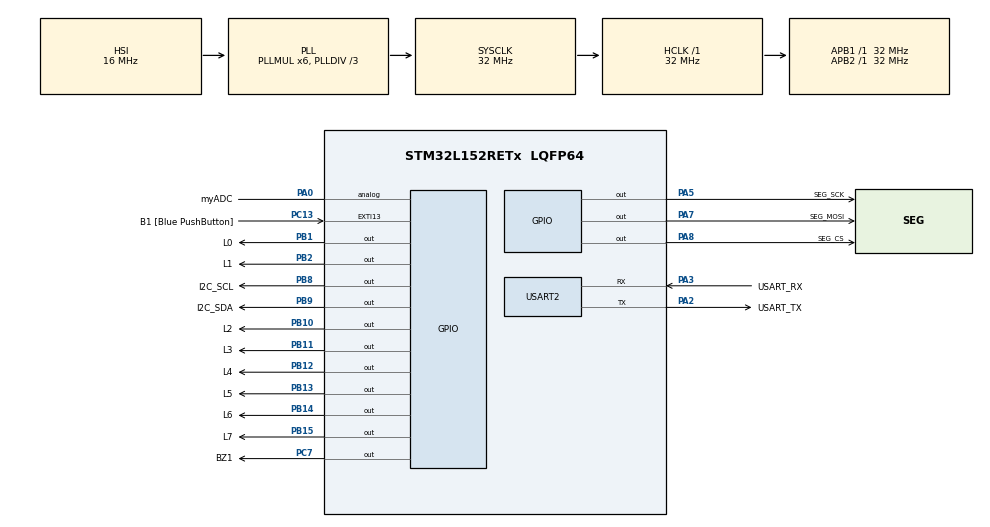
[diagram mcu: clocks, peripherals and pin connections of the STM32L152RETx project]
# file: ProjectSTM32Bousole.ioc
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Mcu.Family=STM32L1
Mcu.Name=STM32L152RETx
Mcu.Package=LQFP64
NVIC.PriorityGroup=NVIC_PRIORITYGROUP_0
PA13.GPIO_Label=TMS
PA13.Mode=Serial_Wire
PA13.Signal=SYS_JTMS-SWDIO
PA14.GPIO_Label=TCK
PA14.Mode=Serial_Wire
PA14.Signal=SYS_JTCK-SWCLK
PA0-WKUP1.GPIO_Label=myADC
PA0-WKUP1.Signal=GPIO_Analog
PA2.GPIO_Label=USART_TX
PA2.Mode=Asynchronous
PA2.Signal=USART2_TX
PA3.GPIO_Label=USART_RX
PA3.Mode=Asynchronous
PA3.Signal=USART2_RX
PA5.GPIO_Label=SEG_SCK
PA5.GPIO_Speed=GPIO_SPEED_FREQ_HIGH
PA5.Signal=GPIO_Output
PA7.GPIO_Label=SEG_MOSI
PA7.GPIO_Speed=GPIO_SPEED_FREQ_HIGH
PA7.Signal=GPIO_Output
PA8.GPIO_Label=SEG_CS
PA8.GPIO_Speed=GPIO_SPEED_FREQ_HIGH
PA8.Signal=GPIO_Output
PB1.GPIO_Label=L0
PB1.GPIO_Speed=GPIO_SPEED_FREQ_LOW
PB1.Signal=GPIO_Output
PB10.GPIO_Label=L2
PB10.GPIO_Speed=GPIO_SPEED_FREQ_LOW
PB10.Signal=GPIO_Output
PB11.GPIO_Label=L3
PB11.GPIO_Speed=GPIO_SPEED_FREQ_LOW
PB11.Signal=GPIO_Output
PB12.GPIO_Label=L4
PB12.GPIO_Speed=GPIO_SPEED_FREQ_LOW
PB12.Signal=GPIO_Output
PB13.GPIO_Label=L5
PB13.GPIO_Speed=GPIO_SPEED_FREQ_LOW
PB13.Signal=GPIO_Output
PB14.GPIO_Label=L6
PB14.GPIO_Speed=GPIO_SPEED_FREQ_LOW
PB14.Signal=GPIO_Output
PB15.GPIO_Label=L7
PB15.GPIO_Speed=GPIO_SPEED_FREQ_LOW
PB15.Signal=GPIO_Output
PB2.GPIO_Label=L1
PB2.GPIO_Speed=GPIO_SPEED_FREQ_LOW
PB2.Signal=GPIO_Output
PB3.GPIO_Label=SWO
PB3.Signal=SYS_JTDO-TRACESWO
PB8.GPIO_Label=I2C_SCL
PB8.GPIO_ModeDefaultOutputPP=GPIO_MODE_OUTPUT_OD
PB8.GPIO_PuPd=GPIO_PULLUP
PB8.GPIO_Speed=GPIO_SPEED_FREQ_HIGH
PB8.Signal=GPIO_Output
PB9.GPIO_Label=I2C_SDA
PB9.GPIO_ModeDefaultOutputPP=GPIO_MODE_OUTPUT_OD
PB9.GPIO_PuPd=GPIO_PULLUP
PB9.GPIO_Speed=GPIO_SPEED_FREQ_HIGH
PB9.Signal=GPIO_Output
PC7.GPIO_Label=BZ1
PC7.GPIO_Speed=GPIO_SPEED_FREQ_HIGH
PC7.Signal=GPIO_Output
PC13-WKUP2.GPIO_Label=B1 [Blue PushButton]
PC13-WKUP2.Signal=GPXTI13
PC14-OSC32_IN.Mode=LSE-External-Oscillator
PC14-OSC32_IN.Signal=RCC_OSC32_IN
PC15-OSC32_OUT.Mode=LSE-External-Oscillator
PC15-OSC32_OUT.Signal=RCC_OSC32_OUT
PH0-OSC_IN.Mode=HSE-External-Clock-Source
PH0-OSC_IN.Signal=RCC_OSC_IN
PH1-OSC_OUT.Signal=RCC_OSC_OUT
ProjectManager.HeapSize=0x200
ProjectManager.StackSize=0x400
ProjectManager.TargetToolchain=STM32CubeIDE
RCC.48MHZClocksFreq_Value=48000000
RCC.AHBFreq_Value=32000000
RCC.APB1Freq_Value=32000000
RCC.APB1TimFreq_Value=32000000
RCC.APB2Freq_Value=32000000
RCC.APB2TimFreq_Value=32000000
RCC.HCLKFreq_Value=32000000
RCC.HSE_VALUE=8000000
RCC.HSI_VALUE=16000000
RCC.MSI_VALUE=2097000
RCC.PLLDIV=RCC_PLL_DIV3
RCC.PLLMUL=RCC_PLL_MUL6
RCC.RTCClockSelectionVirtual=RCC_RTCCLKSOURCE_LSE
RCC.SYSCLKFreq_VALUE=32000000
RCC.SYSCLKSource=RCC_SYSCLKSOURCE_PLLCLK
RCC.USBOutput=48000000
RCC.VCOOutputFreq_Value=96000000
USART2.VirtualMode=VM_ASYNC
board=NUCLEO-L152RE

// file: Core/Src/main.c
/* USER CODE BEGIN Header */
/**
  ******************************************************************************
  * @file           : main.c
  * @brief          : Main program body
  ******************************************************************************
  * @attention
  *
  * Copyright (c) 2026 STMicroelectronics.
  * All rights reserved.
  *
  * This software is licensed under terms that can be found in the LICENSE file
  * in the root directory of this software component.
  * If no LICENSE file comes with this software, it is provided AS-IS.
  *
  ******************************************************************************
  */
/* USER CODE END Header */
#include "main.h"

/* USER CODE BEGIN Includes */
#include <stdbool.h>
#include <stdint.h>
#include <stdio.h>

/* USER CODE END Includes */

/* USER CODE BEGIN PD */
#define LIS2MDL_ADDR              0x1EU
#define LIS2MDL_WHO_AM_I          0x4FU
#define LIS2MDL_WHO_AM_I_VALUE    0x40U
#define LIS2MDL_CFG_REG_A         0x60U
#define LIS2MDL_CFG_REG_B         0x61U
#define LIS2MDL_CFG_REG_C         0x62U
#define LIS2MDL_OUTX_L_REG        0x68U

#define LIS2DW12_ADDR             0x19U
#define LIS2DW12_WHO_AM_I         0x0FU
#define LIS2DW12_WHO_AM_I_VALUE   0x44U
#define LIS2DW12_CTRL1            0x20U
#define LIS2DW12_CTRL6            0x25U
#define LIS2DW12_OUT_X_L          0x28U
#define ACCEL_TILT_LIMIT_RAW      1400

#define MAX7219_REG_DIGIT0        0x01U
#define MAX7219_REG_DECODE        0x09U
#define MAX7219_REG_INTENSITY     0x0AU
#define MAX7219_REG_SCAN_LIMIT    0x0BU
#define MAX7219_REG_SHUTDOWN      0x0CU
#define MAX7219_REG_DISPLAY_TEST  0x0FU

#define COMPASS_UPDATE_MS         150U
#define COMPASS_MAX_READ_ERRORS   3U
#define BUZZER_NEAR_NORTH_DEG     20U
#define BUZZER_ON_NORTH_DEG       5U
#define ADC_UPDATE_REQUESTS       1U
#define ADC_TIMEOUT_LOOPS         100000U

/* USER CODE END PD */

UART_HandleTypeDef huart2;

/* USER CODE BEGIN PV */
static uint8_t sensor_ok = 0U;
static uint8_t accel_ok = 0U;
static volatile uint8_t timer6_adc_request = 0U;
static volatile uint32_t timer6_ticks = 0U;
static volatile uint8_t button_event = 0U;
static uint16_t adc_value = 0U;
static uint32_t adc_display_until = 0U;

/* USER CODE END PV */

void SystemClock_Config(void);
static void MX_GPIO_Init(void);
static void MX_USART2_UART_Init(void);
/* USER CODE BEGIN PFP */
static void Compass_AppInit(void);
static void Compass_AppTask(void);
static void ADC1_AppInit(void);
static bool ADC1_ReadChannel0(uint16_t *value);
static void TIM6_AppInit(void);
static void Compass_HandleButtonEvent(void);
static void Compass_DisplayError(void);
static bool Compass_ReadHeading(uint16_t *heading_deg);
static uint16_t Compass_HeadingFromMag(int16_t x, int16_t y);
static uint16_t Compass_CorrectHeading(uint16_t heading_deg);
static uint16_t Compass_UserHeading(uint16_t heading_deg);
static char Compass_Cardinal(uint16_t heading_deg);
static void Compass_DisplayHeading(uint16_t heading_deg);
static void Compass_DisplayAdc(uint16_t value);
static void Compass_UpdateLeds(uint16_t heading_deg);
static bool Compass_IsTilted(void);
static void Compass_DisplayTilt(void);
static uint16_t Compass_NorthError(uint16_t heading_deg);
static void Buzzer_UpdateNorth(uint16_t heading_deg);
static void Buzzer_PlayTone(uint16_t duration_ms);
static void Buzzer_DelayHalfPeriod(void);
static void LED_Write(uint8_t value);
static bool LIS2MDL_Init(void);
static bool LIS2MDL_ReadRaw(int16_t *x, int16_t *y, int16_t *z);
static bool LIS2MDL_ReadReg(uint8_t reg, uint8_t *value);
static bool LIS2MDL_WriteReg(uint8_t reg, uint8_t value);
static bool LIS2DW12_Init(void);
static bool LIS2DW12_ReadRaw(int16_t *x, int16_t *y, int16_t *z);
static bool LIS2DW12_ReadReg(uint8_t reg, uint8_t *value);
static bool LIS2DW12_WriteReg(uint8_t reg, uint8_t value);
static bool I2C_WriteBytes(uint8_t addr, const uint8_t *data, uint8_t len);
static bool I2C_ReadRegBytes(uint8_t addr, uint8_t reg, uint8_t *data, uint8_t len);
static void I2C_Start(void);
static void I2C_Stop(void);
static bool I2C_WriteByte(uint8_t data);
static uint8_t I2C_ReadByte(bool ack);
static void I2C_SdaOutput(void);
static void I2C_SdaInput(void);
static void I2C_Delay(void);
static void MAX7219_Init(void);
static void MAX7219_Write(uint8_t reg, uint8_t data);
static void MAX7219_SendByte(uint8_t data);
static void MAX7219_DisplayChars(const char chars[4]);
static uint8_t SevenSeg_Code(char c);
static uint16_t Abs16(int16_t value);
int __io_putchar(int ch);

/* USER CODE END PFP */

int main(void)
{

  /* MCU Configuration--------------------------------------------------------*/

  /* Reset of all peripherals, Initializes the Flash interface and the Systick. */
  HAL_Init();

  /* Configure the system clock */
  SystemClock_Config();

  /* Initialize all configured peripherals */
  MX_GPIO_Init();
  MX_USART2_UART_Init();
  /* USER CODE BEGIN 2 */
  ADC1_AppInit();
  TIM6_AppInit();
  Compass_AppInit();

  /* USER CODE END 2 */

  /* Infinite loop */
  while (1)
  {

    /* USER CODE BEGIN 3 */
    Compass_AppTask();
  }
  /* USER CODE END 3 */
}

void SystemClock_Config(void)
{
  RCC_OscInitTypeDef RCC_OscInitStruct = {0};
  RCC_ClkInitTypeDef RCC_ClkInitStruct = {0};

  /** Configure the main internal regulator output voltage
  */
  __HAL_PWR_VOLTAGESCALING_CONFIG(PWR_REGULATOR_VOLTAGE_SCALE1);

  /** Initializes the RCC Oscillators according to the specified parameters
  * in the RCC_OscInitTypeDef structure.
  */
  RCC_OscInitStruct.OscillatorType = RCC_OSCILLATORTYPE_HSI;
  RCC_OscInitStruct.HSIState = RCC_HSI_ON;
  RCC_OscInitStruct.HSICalibrationValue = RCC_HSICALIBRATION_DEFAULT;
  RCC_OscInitStruct.PLL.PLLState = RCC_PLL_ON;
  RCC_OscInitStruct.PLL.PLLSource = RCC_PLLSOURCE_HSI;
  RCC_OscInitStruct.PLL.PLLMUL = RCC_PLL_MUL6;
  RCC_OscInitStruct.PLL.PLLDIV = RCC_PLL_DIV3;
  if (HAL_RCC_OscConfig(&RCC_OscInitStruct) != HAL_OK)
  {
    Error_Handler();
  }

  /** Initializes the CPU, AHB and APB buses clocks
  */
  RCC_ClkInitStruct.ClockType = RCC_CLOCKTYPE_HCLK|RCC_CLOCKTYPE_SYSCLK
                              |RCC_CLOCKTYPE_PCLK1|RCC_CLOCKTYPE_PCLK2;
  RCC_ClkInitStruct.SYSCLKSource = RCC_SYSCLKSOURCE_PLLCLK;
  RCC_ClkInitStruct.AHBCLKDivider = RCC_SYSCLK_DIV1;
  RCC_ClkInitStruct.APB1CLKDivider = RCC_HCLK_DIV1;
  RCC_ClkInitStruct.APB2CLKDivider = RCC_HCLK_DIV1;

  if (HAL_RCC_ClockConfig(&RCC_ClkInitStruct, FLASH_LATENCY_1) != HAL_OK)
  {
    Error_Handler();
  }
}

static void MX_USART2_UART_Init(void)
{

  huart2.Instance = USART2;
  huart2.Init.BaudRate = 115200;
  huart2.Init.WordLength = UART_WORDLENGTH_8B;
  huart2.Init.StopBits = UART_STOPBITS_1;
  huart2.Init.Parity = UART_PARITY_NONE;
  huart2.Init.Mode = UART_MODE_TX_RX;
  huart2.Init.HwFlowCtl = UART_HWCONTROL_NONE;
  huart2.Init.OverSampling = UART_OVERSAMPLING_16;
  if (HAL_UART_Init(&huart2) != HAL_OK)
  {
    Error_Handler();
  }

}

static void MX_GPIO_Init(void)
{
  GPIO_InitTypeDef GPIO_InitStruct = {0};

  /* GPIO Ports Clock Enable */
  __HAL_RCC_GPIOC_CLK_ENABLE();
  __HAL_RCC_GPIOH_CLK_ENABLE();
  __HAL_RCC_GPIOA_CLK_ENABLE();
  __HAL_RCC_GPIOB_CLK_ENABLE();

  /*Configure GPIO pin Output Level */
  HAL_GPIO_WritePin(GPIOA, SEG_SCK_Pin|SEG_MOSI_Pin, GPIO_PIN_RESET);

  /*Configure GPIO pin Output Level */
  HAL_GPIO_WritePin(SEG_CS_GPIO_Port, SEG_CS_Pin, GPIO_PIN_SET);

  /*Configure GPIO pin Output Level */
  HAL_GPIO_WritePin(BZ1_GPIO_Port, BZ1_Pin, GPIO_PIN_RESET);

  /*Configure GPIO pin Output Level */
  HAL_GPIO_WritePin(GPIOB, I2C_SCL_Pin|I2C_SDA_Pin, GPIO_PIN_SET);

  /*Configure GPIO pin Output Level */
  HAL_GPIO_WritePin(LEDS_GPIO_Port, L0_Pin|L1_Pin|L2_Pin|L3_Pin|L4_Pin
                          |L5_Pin|L6_Pin|L7_Pin, GPIO_PIN_RESET);

  /*Configure GPIO pin : B1_Pin */
  GPIO_InitStruct.Pin = B1_Pin;
  GPIO_InitStruct.Mode = GPIO_MODE_IT_RISING;
  GPIO_InitStruct.Pull = GPIO_NOPULL;
  HAL_GPIO_Init(B1_GPIO_Port, &GPIO_InitStruct);
  HAL_NVIC_SetPriority(EXTI15_10_IRQn, 1U, 0U);
  HAL_NVIC_EnableIRQ(EXTI15_10_IRQn);

  /*Configure GPIO pin : myADC_Pin */
  GPIO_InitStruct.Pin = myADC_Pin;
  GPIO_InitStruct.Mode = GPIO_MODE_ANALOG;
  GPIO_InitStruct.Pull = GPIO_NOPULL;
  HAL_GPIO_Init(myADC_GPIO_Port, &GPIO_InitStruct);

  /*Configure GPIO pin : BZ1_Pin */
  GPIO_InitStruct.Pin = BZ1_Pin;
  GPIO_InitStruct.Mode = GPIO_MODE_OUTPUT_PP;
  GPIO_InitStruct.Pull = GPIO_NOPULL;
  GPIO_InitStruct.Speed = GPIO_SPEED_FREQ_HIGH;
  HAL_GPIO_Init(BZ1_GPIO_Port, &GPIO_InitStruct);

  /*Configure GPIO pins : SEG_SCK_Pin SEG_MOSI_Pin SEG_CS_Pin */
  GPIO_InitStruct.Pin = SEG_SCK_Pin|SEG_MOSI_Pin|SEG_CS_Pin;
  GPIO_InitStruct.Mode = GPIO_MODE_OUTPUT_PP;
  GPIO_InitStruct.Pull = GPIO_NOPULL;
  GPIO_InitStruct.Speed = GPIO_SPEED_FREQ_HIGH;
  HAL_GPIO_Init(GPIOA, &GPIO_InitStruct);

  /*Configure GPIO pins : I2C_SCL_Pin I2C_SDA_Pin */
  GPIO_InitStruct.Pin = I2C_SCL_Pin|I2C_SDA_Pin;
  GPIO_InitStruct.Mode = GPIO_MODE_OUTPUT_OD;
  GPIO_InitStruct.Pull = GPIO_PULLUP;
  GPIO_InitStruct.Speed = GPIO_SPEED_FREQ_HIGH;
  HAL_GPIO_Init(GPIOB, &GPIO_InitStruct);

  /*Configure GPIO pins : L0_Pin L1_Pin L2_Pin L3_Pin L4_Pin
                           L5_Pin L6_Pin L7_Pin */
  GPIO_InitStruct.Pin = L0_Pin|L1_Pin|L2_Pin|L3_Pin|L4_Pin|L5_Pin|L6_Pin|L7_Pin;
  GPIO_InitStruct.Mode = GPIO_MODE_OUTPUT_PP;
  GPIO_InitStruct.Pull = GPIO_NOPULL;
  GPIO_InitStruct.Speed = GPIO_SPEED_FREQ_LOW;
  HAL_GPIO_Init(LEDS_GPIO_Port, &GPIO_InitStruct);

}

/* USER CODE BEGIN 4 */
static void ADC1_AppInit(void)
{
  RCC->APB2ENR |= RCC_APB2ENR_ADC1EN;
  ADC->CCR &= ~ADC_CCR_ADCPRE;
  ADC->CCR |= ADC_CCR_ADCPRE_0;

  ADC1->CR1 = 0U;
  ADC1->CR2 = 0U;
  ADC1->SMPR3 = ADC_SMPR3_SMP0;
  ADC1->SQR1 = 0U;
  ADC1->SQR5 = 0U;
  ADC1->CR2 = ADC_CR2_ADON;
}

static bool ADC1_ReadChannel0(uint16_t *value)
{
  uint32_t timeout = ADC_TIMEOUT_LOOPS;

  if (value == NULL) {
    return false;
  }

  ADC1->SR = 0U;
  ADC1->CR2 |= ADC_CR2_SWSTART;
  while ((ADC1->SR & ADC_SR_EOC) == 0U) {
    if (timeout == 0U) {
      return false;
    }
    timeout--;
  }

  *value = (uint16_t)(ADC1->DR & 0x0FFFU);
  return true;
}

static void TIM6_AppInit(void)
{
  RCC->APB1ENR |= RCC_APB1ENR_TIM6EN;
  TIM6->CR1 = 0U;
  TIM6->PSC = 32000U - 1U;
  TIM6->ARR = 1000U - 1U;
  TIM6->EGR = TIM_EGR_UG;
  TIM6->SR = 0U;
  TIM6->DIER = TIM_DIER_UIE;
  HAL_NVIC_SetPriority(TIM6_IRQn, 2U, 0U);
  HAL_NVIC_EnableIRQ(TIM6_IRQn);
  TIM6->CR1 = TIM_CR1_CEN;
}

static void Compass_HandleButtonEvent(void)
{
  if (button_event == 0U) {
    return;
  }

  button_event = 0U;
  adc_display_until = HAL_GetTick() + 1200U;
  Compass_DisplayAdc(adc_value);
}

static void Compass_AppInit(void)
{
  MAX7219_Init();
  MAX7219_DisplayChars("INIT");
  sensor_ok = LIS2MDL_Init() ? 1U : 0U;
  accel_ok = LIS2DW12_Init() ? 1U : 0U;

  if (sensor_ok == 0U) {
    Compass_DisplayError();
  }

  printf("Boussole: MAX7219 OK, LIS2MDL %s, LIS2DW12 accel %s\r\n",
         sensor_ok ? "OK" : "absent",
         accel_ok ? "OK" : "absent");
}

static void Compass_AppTask(void)
{
  static uint32_t last_update = 0U;
  static uint8_t read_errors = 0U;
  uint16_t heading = 0U;
  uint16_t user_heading = 0U;
  uint16_t latest_adc = 0U;

  Compass_HandleButtonEvent();

  if (timer6_adc_request >= ADC_UPDATE_REQUESTS) {
    timer6_adc_request = 0U;
    if (ADC1_ReadChannel0(&latest_adc)) {
      adc_value = latest_adc;
    }
  }

  if ((HAL_GetTick() - last_update) < COMPASS_UPDATE_MS) {
    return;
  }
  last_update = HAL_GetTick();

  if ((int32_t)(adc_display_until - HAL_GetTick()) > 0) {
    return;
  }

  if (!Compass_ReadHeading(&heading)) {
    sensor_ok = 0U;
    if (read_errors < COMPASS_MAX_READ_ERRORS) {
      read_errors++;
    }
    if (read_errors >= COMPASS_MAX_READ_ERRORS) {
      Compass_DisplayError();
      LED_Write(0x00U);
    }
    HAL_GPIO_WritePin(BZ1_GPIO_Port, BZ1_Pin, GPIO_PIN_RESET);
    return;
  }

  sensor_ok = 1U;
  read_errors = 0U;
  if (Compass_IsTilted()) {
    Compass_DisplayTilt();
    printf("Inclinaison trop forte: mesure du cap ignoree\r\n");
    return;
  }

  user_heading = Compass_UserHeading(heading);
  Compass_DisplayHeading(user_heading);
  Compass_UpdateLeds(user_heading);
  Buzzer_UpdateNorth(user_heading);
  printf("Cap affiche: %03u deg [%c], ecart nord affiche %03u deg\r\n",
         user_heading,
         Compass_Cardinal(user_heading),
         Compass_NorthError(user_heading));
}

static void Compass_DisplayError(void)
{
  MAX7219_DisplayChars("ERR ");
}

static bool Compass_ReadHeading(uint16_t *heading_deg)
{
  int16_t x = 0;
  int16_t y = 0;
  int16_t z = 0;

  if (heading_deg == NULL) {
    return false;
  }

  if (!LIS2MDL_ReadRaw(&x, &y, &z)) {
    (void)z;
    return false;
  }

  *heading_deg = Compass_CorrectHeading(Compass_HeadingFromMag(x, y));
  return true;
}

static uint16_t Compass_HeadingFromMag(int16_t x, int16_t y)
{
  int32_t ax = Abs16(x);
  int32_t ay = Abs16(y);
  int32_t angle;

  if (x == 0 && y == 0) {
    return 0U;
  }

  if (ax >= ay) {
    angle = (45L * ay) / (ax == 0 ? 1 : ax);
  } else {
    angle = 90L - ((45L * ax) / (ay == 0 ? 1 : ay));
  }

  if (x >= 0 && y >= 0) {
    return (uint16_t)angle;
  }
  if (x < 0 && y >= 0) {
    return (uint16_t)(180L - angle);
  }
  if (x < 0 && y < 0) {
    return (uint16_t)(180L + angle);
  }
  return (uint16_t)(360L - angle);
}

static uint16_t Compass_CorrectHeading(uint16_t heading_deg)
{
  heading_deg %= 360U;
  if (heading_deg == 0U) {
    return 0U;
  }
  return (uint16_t)(360U - heading_deg);
}

static uint16_t Compass_UserHeading(uint16_t heading_deg)
{
  return (uint16_t)((heading_deg + 180U) % 360U);
}

static char Compass_Cardinal(uint16_t heading_deg)
{
  static const char dirs[8] = {'N', 'E', 'E', 'S', 'S', 'W', 'W', 'N'};
  uint8_t sector = (uint8_t)(((uint32_t)heading_deg + 22U) / 45U) & 0x07U;
  return dirs[sector];
}

static void Compass_DisplayHeading(uint16_t heading_deg)
{
  char text[4];

  heading_deg %= 360U;
  text[0] = Compass_Cardinal(heading_deg);
  text[1] = (char)('0' + (heading_deg / 100U));
  text[2] = (char)('0' + ((heading_deg / 10U) % 10U));
  text[3] = (char)('0' + (heading_deg % 10U));
  MAX7219_DisplayChars(text);
}

static void Compass_DisplayAdc(uint16_t value)
{
  char text[4];
  uint16_t display_value;

  display_value = (uint16_t)(((uint32_t)(value & 0x0FFFU) * 999U) / 4095U);
  text[0] = 'A';
  text[1] = (char)('0' + (display_value / 100U));
  text[2] = (char)('0' + ((display_value / 10U) % 10U));
  text[3] = (char)('0' + (display_value % 10U));
  MAX7219_DisplayChars(text);
}

static void Compass_UpdateLeds(uint16_t heading_deg)
{
  uint8_t sector = (uint8_t)(((uint32_t)heading_deg + 22U) / 45U) & 0x07U;
  LED_Write((uint8_t)(1U << sector));
}

static bool Compass_IsTilted(void)
{
  int16_t ax = 0;
  int16_t ay = 0;
  int16_t az = 0;

  if (accel_ok == 0U) {
    return false;
  }

  if (!LIS2DW12_ReadRaw(&ax, &ay, &az)) {
    accel_ok = 0U;
    return false;
  }

  (void)az;
  return Abs16(ax) > ACCEL_TILT_LIMIT_RAW || Abs16(ay) > ACCEL_TILT_LIMIT_RAW;
}

static void Compass_DisplayTilt(void)
{
  MAX7219_DisplayChars("TILT");
  LED_Write(0x81U);
  HAL_GPIO_WritePin(BZ1_GPIO_Port, BZ1_Pin, GPIO_PIN_RESET);
}

static uint16_t Compass_NorthError(uint16_t heading_deg)
{
  heading_deg %= 360U;
  return heading_deg <= 180U ? heading_deg : (uint16_t)(360U - heading_deg);
}

static void Buzzer_UpdateNorth(uint16_t heading_deg)
{
  static uint32_t last_beep = 0U;
  uint32_t now = HAL_GetTick();
  uint16_t error = Compass_NorthError(heading_deg);
  uint32_t interval_ms;

  if (error > BUZZER_NEAR_NORTH_DEG) {
    HAL_GPIO_WritePin(BZ1_GPIO_Port, BZ1_Pin, GPIO_PIN_RESET);
    return;
  }

  interval_ms = error <= BUZZER_ON_NORTH_DEG ? 180U : 650U;
  if ((now - last_beep) < interval_ms) {
    return;
  }

  last_beep = now;
  Buzzer_PlayTone(error <= BUZZER_ON_NORTH_DEG ? 80U : 35U);
}

static void Buzzer_PlayTone(uint16_t duration_ms)
{
  uint32_t start = HAL_GetTick();

  while ((HAL_GetTick() - start) < duration_ms) {
    HAL_GPIO_WritePin(BZ1_GPIO_Port, BZ1_Pin, GPIO_PIN_SET);
    Buzzer_DelayHalfPeriod();
    HAL_GPIO_WritePin(BZ1_GPIO_Port, BZ1_Pin, GPIO_PIN_RESET);
    Buzzer_DelayHalfPeriod();
  }
}

static void Buzzer_DelayHalfPeriod(void)
{
  volatile uint16_t i;

  for (i = 0U; i < 650U; i++) {
    __NOP();
  }
}

static void LED_Write(uint8_t value)
{
  HAL_GPIO_WritePin(LEDS_GPIO_Port, L0_Pin,  (value & 0x01U) ? GPIO_PIN_SET : GPIO_PIN_RESET);
  HAL_GPIO_WritePin(LEDS_GPIO_Port, L1_Pin,  (value & 0x02U) ? GPIO_PIN_SET : GPIO_PIN_RESET);
  HAL_GPIO_WritePin(LEDS_GPIO_Port, L2_Pin,  (value & 0x04U) ? GPIO_PIN_SET : GPIO_PIN_RESET);
  HAL_GPIO_WritePin(LEDS_GPIO_Port, L3_Pin,  (value & 0x08U) ? GPIO_PIN_SET : GPIO_PIN_RESET);
  HAL_GPIO_WritePin(LEDS_GPIO_Port, L4_Pin,  (value & 0x10U) ? GPIO_PIN_SET : GPIO_PIN_RESET);
  HAL_GPIO_WritePin(LEDS_GPIO_Port, L5_Pin,  (value & 0x20U) ? GPIO_PIN_SET : GPIO_PIN_RESET);
  HAL_GPIO_WritePin(LEDS_GPIO_Port, L6_Pin,  (value & 0x40U) ? GPIO_PIN_SET : GPIO_PIN_RESET);
  HAL_GPIO_WritePin(LEDS_GPIO_Port, L7_Pin,  (value & 0x80U) ? GPIO_PIN_SET : GPIO_PIN_RESET);
}

static bool LIS2MDL_Init(void)
{
  uint8_t whoami = 0U;

  if (!LIS2MDL_ReadReg(LIS2MDL_WHO_AM_I, &whoami) || whoami != LIS2MDL_WHO_AM_I_VALUE) {
    return false;
  }

  if (!LIS2MDL_WriteReg(LIS2MDL_CFG_REG_A, 0x8CU)) {
    return false;
  }
  if (!LIS2MDL_WriteReg(LIS2MDL_CFG_REG_B, 0x02U)) {
    return false;
  }
  return LIS2MDL_WriteReg(LIS2MDL_CFG_REG_C, 0x10U);
}

static bool LIS2MDL_ReadRaw(int16_t *x, int16_t *y, int16_t *z)
{
  uint8_t data[6] = {0};

  if (x == NULL || y == NULL || z == NULL) {
    return false;
  }

  if (!I2C_ReadRegBytes(LIS2MDL_ADDR, (uint8_t)(LIS2MDL_OUTX_L_REG | 0x80U), data, sizeof(data))) {
    return false;
  }

  *x = (int16_t)((uint16_t)data[0] | ((uint16_t)data[1] << 8));
  *y = (int16_t)((uint16_t)data[2] | ((uint16_t)data[3] << 8));
  *z = (int16_t)((uint16_t)data[4] | ((uint16_t)data[5] << 8));
  return true;
}

static bool LIS2MDL_ReadReg(uint8_t reg, uint8_t *value)
{
  return I2C_ReadRegBytes(LIS2MDL_ADDR, reg, value, 1U);
}

static bool LIS2MDL_WriteReg(uint8_t reg, uint8_t value)
{
  uint8_t data[2] = {reg, value};
  return I2C_WriteBytes(LIS2MDL_ADDR, data, sizeof(data));
}

static bool LIS2DW12_Init(void)
{
  uint8_t whoami = 0U;

  if (!LIS2DW12_ReadReg(LIS2DW12_WHO_AM_I, &whoami) || whoami != LIS2DW12_WHO_AM_I_VALUE) {
    return false;
  }

  if (!LIS2DW12_WriteReg(LIS2DW12_CTRL6, 0x00U)) {
    return false;
  }
  return LIS2DW12_WriteReg(LIS2DW12_CTRL1, 0x50U);
}

static bool LIS2DW12_ReadRaw(int16_t *x, int16_t *y, int16_t *z)
{
  uint8_t data[6] = {0};

  if (x == NULL || y == NULL || z == NULL) {
    return false;
  }

  if (!I2C_ReadRegBytes(LIS2DW12_ADDR, (uint8_t)(LIS2DW12_OUT_X_L | 0x80U), data, sizeof(data))) {
    return false;
  }

  *x = (int16_t)((uint16_t)data[0] | ((uint16_t)data[1] << 8));
  *y = (int16_t)((uint16_t)data[2] | ((uint16_t)data[3] << 8));
  *z = (int16_t)((uint16_t)data[4] | ((uint16_t)data[5] << 8));

  *x >>= 2;
  *y >>= 2;
  *z >>= 2;
  return true;
}

static bool LIS2DW12_ReadReg(uint8_t reg, uint8_t *value)
{
  return I2C_ReadRegBytes(LIS2DW12_ADDR, reg, value, 1U);
}

static bool LIS2DW12_WriteReg(uint8_t reg, uint8_t value)
{
  uint8_t data[2] = {reg, value};
  return I2C_WriteBytes(LIS2DW12_ADDR, data, sizeof(data));
}

static bool I2C_WriteBytes(uint8_t addr, const uint8_t *data, uint8_t len)
{
  uint8_t i;

  I2C_Start();
  if (!I2C_WriteByte((uint8_t)(addr << 1))) {
    I2C_Stop();
    return false;
  }
  for (i = 0; i < len; i++) {
    if (!I2C_WriteByte(data[i])) {
      I2C_Stop();
      return false;
    }
  }
  I2C_Stop();
  return true;
}

static bool I2C_ReadRegBytes(uint8_t addr, uint8_t reg, uint8_t *data, uint8_t len)
{
  uint8_t i;

  if (data == NULL || len == 0U) {
    return false;
  }

  I2C_Start();
  if (!I2C_WriteByte((uint8_t)(addr << 1)) || !I2C_WriteByte(reg)) {
    I2C_Stop();
    return false;
  }

  I2C_Start();
  if (!I2C_WriteByte((uint8_t)((addr << 1) | 1U))) {
    I2C_Stop();
    return false;
  }

  for (i = 0; i < len; i++) {
    data[i] = I2C_ReadByte(i < (uint8_t)(len - 1U));
  }
  I2C_Stop();
  return true;
}

static void I2C_Start(void)
{
  I2C_SdaOutput();
  HAL_GPIO_WritePin(I2C_SDA_GPIO_Port, I2C_SDA_Pin, GPIO_PIN_SET);
  HAL_GPIO_WritePin(I2C_SCL_GPIO_Port, I2C_SCL_Pin, GPIO_PIN_SET);
  I2C_Delay();
  HAL_GPIO_WritePin(I2C_SDA_GPIO_Port, I2C_SDA_Pin, GPIO_PIN_RESET);
  I2C_Delay();
  HAL_GPIO_WritePin(I2C_SCL_GPIO_Port, I2C_SCL_Pin, GPIO_PIN_RESET);
}

static void I2C_Stop(void)
{
  I2C_SdaOutput();
  HAL_GPIO_WritePin(I2C_SDA_GPIO_Port, I2C_SDA_Pin, GPIO_PIN_RESET);
  HAL_GPIO_WritePin(I2C_SCL_GPIO_Port, I2C_SCL_Pin, GPIO_PIN_SET);
  I2C_Delay();
  HAL_GPIO_WritePin(I2C_SDA_GPIO_Port, I2C_SDA_Pin, GPIO_PIN_SET);
  I2C_Delay();
}

static bool I2C_WriteByte(uint8_t data)
{
  uint8_t i;
  GPIO_PinState ack;

  I2C_SdaOutput();
  for (i = 0; i < 8U; i++) {
    HAL_GPIO_WritePin(I2C_SDA_GPIO_Port, I2C_SDA_Pin,
                      (data & 0x80U) ? GPIO_PIN_SET : GPIO_PIN_RESET);
    I2C_Delay();
    HAL_GPIO_WritePin(I2C_SCL_GPIO_Port, I2C_SCL_Pin, GPIO_PIN_SET);
    I2C_Delay();
    HAL_GPIO_WritePin(I2C_SCL_GPIO_Port, I2C_SCL_Pin, GPIO_PIN_RESET);
    data <<= 1;
  }

  I2C_SdaInput();
  I2C_Delay();
  HAL_GPIO_WritePin(I2C_SCL_GPIO_Port, I2C_SCL_Pin, GPIO_PIN_SET);
  I2C_Delay();
  ack = HAL_GPIO_ReadPin(I2C_SDA_GPIO_Port, I2C_SDA_Pin);
  HAL_GPIO_WritePin(I2C_SCL_GPIO_Port, I2C_SCL_Pin, GPIO_PIN_RESET);
  I2C_SdaOutput();
  return ack == GPIO_PIN_RESET;
}

static uint8_t I2C_ReadByte(bool ack)
{
  uint8_t i;
  uint8_t data = 0U;

  I2C_SdaInput();
  for (i = 0; i < 8U; i++) {
    data <<= 1;
    HAL_GPIO_WritePin(I2C_SCL_GPIO_Port, I2C_SCL_Pin, GPIO_PIN_SET);
    I2C_Delay();
    if (HAL_GPIO_ReadPin(I2C_SDA_GPIO_Port, I2C_SDA_Pin) == GPIO_PIN_SET) {
      data |= 1U;
    }
    HAL_GPIO_WritePin(I2C_SCL_GPIO_Port, I2C_SCL_Pin, GPIO_PIN_RESET);
    I2C_Delay();
  }

  I2C_SdaOutput();
  HAL_GPIO_WritePin(I2C_SDA_GPIO_Port, I2C_SDA_Pin, ack ? GPIO_PIN_RESET : GPIO_PIN_SET);
  I2C_Delay();
  HAL_GPIO_WritePin(I2C_SCL_GPIO_Port, I2C_SCL_Pin, GPIO_PIN_SET);
  I2C_Delay();
  HAL_GPIO_WritePin(I2C_SCL_GPIO_Port, I2C_SCL_Pin, GPIO_PIN_RESET);
  HAL_GPIO_WritePin(I2C_SDA_GPIO_Port, I2C_SDA_Pin, GPIO_PIN_SET);
  return data;
}

static void I2C_SdaOutput(void)
{
  GPIO_InitTypeDef GPIO_InitStruct = {0};

  GPIO_InitStruct.Pin = I2C_SDA_Pin;
  GPIO_InitStruct.Mode = GPIO_MODE_OUTPUT_OD;
  GPIO_InitStruct.Pull = GPIO_PULLUP;
  GPIO_InitStruct.Speed = GPIO_SPEED_FREQ_HIGH;
  HAL_GPIO_Init(I2C_SDA_GPIO_Port, &GPIO_InitStruct);
}

static void I2C_SdaInput(void)
{
  GPIO_InitTypeDef GPIO_InitStruct = {0};

  GPIO_InitStruct.Pin = I2C_SDA_Pin;
  GPIO_InitStruct.Mode = GPIO_MODE_INPUT;
  GPIO_InitStruct.Pull = GPIO_PULLUP;
  HAL_GPIO_Init(I2C_SDA_GPIO_Port, &GPIO_InitStruct);
}

static void I2C_Delay(void)
{
  volatile uint16_t i;

  for (i = 0U; i < 90U; i++) {
    __NOP();
  }
}

static void MAX7219_Init(void)
{
  MAX7219_Write(MAX7219_REG_DISPLAY_TEST, 0x00U);
  MAX7219_Write(MAX7219_REG_SCAN_LIMIT, 0x03U);
  MAX7219_Write(MAX7219_REG_DECODE, 0x00U);
  MAX7219_Write(MAX7219_REG_INTENSITY, 0x08U);
  MAX7219_Write(MAX7219_REG_SHUTDOWN, 0x01U);
  MAX7219_DisplayChars("    ");
}

static void MAX7219_Write(uint8_t reg, uint8_t data)
{
  HAL_GPIO_WritePin(SEG_CS_GPIO_Port, SEG_CS_Pin, GPIO_PIN_RESET);
  MAX7219_SendByte(reg);
  MAX7219_SendByte(data);
  HAL_GPIO_WritePin(SEG_CS_GPIO_Port, SEG_CS_Pin, GPIO_PIN_SET);
}

static void MAX7219_SendByte(uint8_t data)
{
  uint8_t i;

  for (i = 0U; i < 8U; i++) {
    HAL_GPIO_WritePin(SEG_SCK_GPIO_Port, SEG_SCK_Pin, GPIO_PIN_RESET);
    HAL_GPIO_WritePin(SEG_MOSI_GPIO_Port, SEG_MOSI_Pin,
                      (data & 0x80U) ? GPIO_PIN_SET : GPIO_PIN_RESET);
    data <<= 1;
    HAL_GPIO_WritePin(SEG_SCK_GPIO_Port, SEG_SCK_Pin, GPIO_PIN_SET);
  }
  HAL_GPIO_WritePin(SEG_SCK_GPIO_Port, SEG_SCK_Pin, GPIO_PIN_RESET);
}

static void MAX7219_DisplayChars(const char chars[4])
{
  uint8_t i;

  for (i = 0U; i < 4U; i++) {
    MAX7219_Write((uint8_t)(MAX7219_REG_DIGIT0 + i), SevenSeg_Code(chars[i]));
  }
}

static uint8_t SevenSeg_Code(char c)
{
  switch (c) {
    case '0': return 0x7eU;
    case '1': return 0x30U;
    case '2': return 0x6dU;
    case '3': return 0x79U;
    case '4': return 0x33U;
    case '5': return 0x5bU;
    case '6': return 0x5fU;
    case '7': return 0x70U;
    case '8': return 0x7fU;
    case '9': return 0x7bU;
    case 'A': return 0x77U;
    case 'C': return 0x4eU;
    case 'D': return 0x3dU;
    case 'E': return 0x4fU;
    case 'I': return 0x30U;
    case 'L': return 0x0eU;
    case 'N': return 0x76U;
    case 'O': return 0x1dU;
    case 'P': return 0x67U;
    case 'R': return 0x05U;
    case 'S': return 0x5bU;
    case 'T': return 0x0fU;
    case 'W': return 0x3eU;
    default: return 0x00U;
  }
}

static uint16_t Abs16(int16_t value)
{
  return (uint16_t)(value < 0 ? -value : value);
}

void App_ButtonIrqHandler(void)
{
  static uint32_t last_button_ms = 0U;
  uint32_t now = HAL_GetTick();

  if ((now - last_button_ms) > 200U) {
    button_event = 1U;
    last_button_ms = now;
  }
}

void App_Timer6IrqHandler(void)
{
  timer6_ticks++;
  if (timer6_adc_request < 255U) {
    timer6_adc_request++;
  }
}

int __io_putchar(int ch)
{
  HAL_UART_Transmit(&huart2, (uint8_t *)&ch, 1U, HAL_MAX_DELAY);
  return ch;
}

/* USER CODE END 4 */

void Error_Handler(void)
{
  __disable_irq();
  while (1)
  {
  }
}
